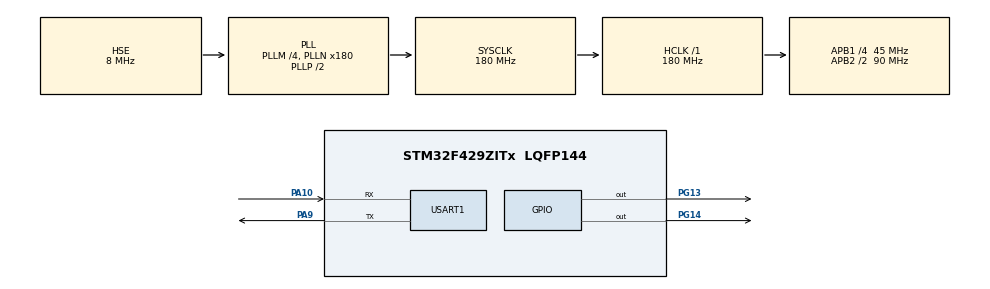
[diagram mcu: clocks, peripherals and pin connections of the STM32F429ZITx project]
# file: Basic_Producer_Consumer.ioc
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FREERTOS.Tasks01=defaultTask,0,128,StartDefaultTask,Default,NULL,Dynamic,NULL,NULL
Mcu.Family=STM32F4
Mcu.Name=STM32F429ZITx
Mcu.Package=LQFP144
NVIC.PriorityGroup=NVIC_PRIORITYGROUP_4
NVIC.TIM6_DAC_IRQn=true\:15\:0\:false\:false\:true\:false\:false\:true\:true
NVIC.TimeBase=TIM6_DAC_IRQn
NVIC.TimeBaseIP=TIM6
PA10.Mode=Asynchronous
PA10.Signal=USART1_RX
PA9.Mode=Asynchronous
PA9.Signal=USART1_TX
PG13.Signal=GPIO_Output
PG14.Signal=GPIO_Output
PH0/OSC_IN.Mode=HSE-External-Oscillator
PH0/OSC_IN.Signal=RCC_OSC_IN
PH1/OSC_OUT.Mode=HSE-External-Oscillator
PH1/OSC_OUT.Signal=RCC_OSC_OUT
ProjectManager.HeapSize=0x200
ProjectManager.StackSize=0x400
ProjectManager.TargetToolchain=STM32CubeIDE
RCC.48MHZClocksFreq_Value=51428571.428571425
RCC.AHBFreq_Value=180000000
RCC.APB1CLKDivider=RCC_HCLK_DIV4
RCC.APB1Freq_Value=45000000
RCC.APB1TimFreq_Value=90000000
RCC.APB2CLKDivider=RCC_HCLK_DIV2
RCC.APB2Freq_Value=90000000
RCC.APB2TimFreq_Value=180000000
RCC.CortexFreq_Value=180000000
RCC.HCLKFreq_Value=180000000
RCC.HSE_VALUE=8000000
RCC.HSI_VALUE=16000000
RCC.LSE_VALUE=32768
RCC.PLLM=4
RCC.PLLN=180
RCC.PLLQ=7
RCC.PLLSourceVirtual=RCC_PLLSOURCE_HSE
RCC.SYSCLKFreq_VALUE=180000000
RCC.SYSCLKSource=RCC_SYSCLKSOURCE_PLLCLK
RCC.VCOOutputFreq_Value=360000000
USART1.VirtualMode=VM_ASYNC
VP_FREERTOS_VS_CMSIS_V1.Mode=CMSIS_V1
VP_SYS_VS_tim6.Mode=TIM6
board=STM32F429I-DISC1

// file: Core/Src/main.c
/* USER CODE BEGIN Header */
/**
  ******************************************************************************
  * @file           : main.c
  * @brief          : Main program body
  ******************************************************************************
  * @attention
  *
  * Copyright (c) 2025 STMicroelectronics.
  * All rights reserved.
  *
  * This software is licensed under terms that can be found in the LICENSE file
  * in the root directory of this software component.
  * If no LICENSE file comes with this software, it is provided AS-IS.
  *
  ******************************************************************************
  */
/* USER CODE END Header */
#include "main.h"

#include "FreeRTOS.h"
#include "task.h"
#include "message_buffer.h"

#include "string.h"
#include "stdio.h"

UART_HandleTypeDef huart1;

void SystemClock_Config(void);
static void MX_GPIO_Init(void);
static void MX_USART1_UART_Init(void);

/* USER CODE BEGIN 0 */

/* *********************** Create Message buffer handler ********************* */
MessageBufferHandle_t MessageBuffer_Handle;

/* *********************** Create Task Handles ******************************* */
TaskHandle_t Producer_Handle;
TaskHandle_t Consumer_Handle;

/* *********************** Task Functions ********************************** */
void Producer(void* pv)
{
	const char* msgs[] = {"CMD1", "HELLO MP CODING", "PAYLAOD:12345", "OK" };
	int i = 0;

	for(;;)
	{
		size_t len = strlen(msgs[i]);
		if (xMessageBufferSend(MessageBuffer_Handle, (void* )msgs[i], len, pdMS_TO_TICKS(100)) != len) {
			// Error
			HAL_UART_Transmit(&huart1, (uint8_t *)"Message Buffer Send Failed\r\n", 21, HAL_MAX_DELAY);
		}else {

			HAL_GPIO_TogglePin(GPIOG, GPIO_PIN_13);

			char* msg = (char*) pvPortMalloc(100 * sizeof(char)); // Allocate memory from the heap
			sprintf(msg, "Message Sent: %s\r\n", msgs[i]);
			HAL_UART_Transmit(&huart1, (uint8_t *)msg, strlen(msg), HAL_MAX_DELAY);
			vPortFree(msg); // Free the allocated memory
		}

		i = (i+1) % (sizeof(msgs)/sizeof(msgs[0]));

		vTaskDelay(pdMS_TO_TICKS(1000));
	}
}

void Consumer(void* pv)
{
	uint8_t rxBuffer[100];
	for (;;)
	{
		size_t received = xMessageBufferReceive(MessageBuffer_Handle, (void* )rxBuffer, sizeof(rxBuffer), portMAX_DELAY);

		HAL_GPIO_TogglePin(GPIOG, GPIO_PIN_14);

		char* msg = (char*) pvPortMalloc(100 * sizeof(char)); // Allocate memory from the heap

		sprintf(msg, "Message Received: %.*s\n", (int)received, rxBuffer);

		HAL_UART_Transmit(&huart1, (uint8_t *)msg, strlen(msg), HAL_MAX_DELAY);
		vPortFree(msg); // Free the allocated memory

	}
}

/* USER CODE END 0 */

int main(void)
{

  /* MCU Configuration--------------------------------------------------------*/

  /* Reset of all peripherals, Initializes the Flash interface and the Systick. */
  HAL_Init();

  /* Configure the system clock */
  SystemClock_Config();

  /* Initialize all configured peripherals */
  MX_GPIO_Init();
  MX_USART1_UART_Init();
  /* USER CODE BEGIN 2 */

  /* *********************** Create Message Buffer ************************** */
  MessageBuffer_Handle = xMessageBufferCreate(256); // 256 bytes buffer (Total buffer size bytes)

  if (MessageBuffer_Handle == NULL) {
	// Error
	HAL_UART_Transmit(&huart1, (uint8_t*) "Message Buffer Creation Failed\n", 31, HAL_MAX_DELAY);
  }
  else{
	HAL_UART_Transmit(&huart1, (uint8_t*) "Message Buffer Created Successfully\n", 37, HAL_MAX_DELAY);
  }

  /* *********************** Create Tasks ********************************** */
  xTaskCreate(Producer, "Producer", 256, NULL, 2, &Producer_Handle);
  xTaskCreate(Consumer, "Consumer", 256, NULL, 1, &Consumer_Handle);

  /* *********************** Start Scheduler ******************************* */
  vTaskStartScheduler();

  /* USER CODE END 2 */

  /* We should never get here as control is now taken by the scheduler */

  /* Infinite loop */
  while (1)
  {

  }
}

void SystemClock_Config(void)
{
  RCC_OscInitTypeDef RCC_OscInitStruct = {0};
  RCC_ClkInitTypeDef RCC_ClkInitStruct = {0};

  /** Configure the main internal regulator output voltage
  */
  __HAL_RCC_PWR_CLK_ENABLE();
  __HAL_PWR_VOLTAGESCALING_CONFIG(PWR_REGULATOR_VOLTAGE_SCALE1);

  /** Initializes the RCC Oscillators according to the specified parameters
  * in the RCC_OscInitTypeDef structure.
  */
  RCC_OscInitStruct.OscillatorType = RCC_OSCILLATORTYPE_HSE;
  RCC_OscInitStruct.HSEState = RCC_HSE_ON;
  RCC_OscInitStruct.PLL.PLLState = RCC_PLL_ON;
  RCC_OscInitStruct.PLL.PLLSource = RCC_PLLSOURCE_HSE;
  RCC_OscInitStruct.PLL.PLLM = 4;
  RCC_OscInitStruct.PLL.PLLN = 180;
  RCC_OscInitStruct.PLL.PLLP = RCC_PLLP_DIV2;
  RCC_OscInitStruct.PLL.PLLQ = 7;
  if (HAL_RCC_OscConfig(&RCC_OscInitStruct) != HAL_OK)
  {
    Error_Handler();
  }

  /** Activate the Over-Drive mode
  */
  if (HAL_PWREx_EnableOverDrive() != HAL_OK)
  {
    Error_Handler();
  }

  /** Initializes the CPU, AHB and APB buses clocks
  */
  RCC_ClkInitStruct.ClockType = RCC_CLOCKTYPE_HCLK|RCC_CLOCKTYPE_SYSCLK
                              |RCC_CLOCKTYPE_PCLK1|RCC_CLOCKTYPE_PCLK2;
  RCC_ClkInitStruct.SYSCLKSource = RCC_SYSCLKSOURCE_PLLCLK;
  RCC_ClkInitStruct.AHBCLKDivider = RCC_SYSCLK_DIV1;
  RCC_ClkInitStruct.APB1CLKDivider = RCC_HCLK_DIV4;
  RCC_ClkInitStruct.APB2CLKDivider = RCC_HCLK_DIV2;

  if (HAL_RCC_ClockConfig(&RCC_ClkInitStruct, FLASH_LATENCY_5) != HAL_OK)
  {
    Error_Handler();
  }
}

static void MX_USART1_UART_Init(void)
{

  huart1.Instance = USART1;
  huart1.Init.BaudRate = 115200;
  huart1.Init.WordLength = UART_WORDLENGTH_8B;
  huart1.Init.StopBits = UART_STOPBITS_1;
  huart1.Init.Parity = UART_PARITY_NONE;
  huart1.Init.Mode = UART_MODE_TX_RX;
  huart1.Init.HwFlowCtl = UART_HWCONTROL_NONE;
  huart1.Init.OverSampling = UART_OVERSAMPLING_16;
  if (HAL_UART_Init(&huart1) != HAL_OK)
  {
    Error_Handler();
  }

}

static void MX_GPIO_Init(void)
{
  GPIO_InitTypeDef GPIO_InitStruct = {0};

  /* GPIO Ports Clock Enable */
  __HAL_RCC_GPIOH_CLK_ENABLE();
  __HAL_RCC_GPIOA_CLK_ENABLE();
  __HAL_RCC_GPIOG_CLK_ENABLE();

  /*Configure GPIO pin Output Level */
  HAL_GPIO_WritePin(GPIOG, GPIO_PIN_13|GPIO_PIN_14, GPIO_PIN_RESET);

  /*Configure GPIO pins : PG13 PG14 */
  GPIO_InitStruct.Pin = GPIO_PIN_13|GPIO_PIN_14;
  GPIO_InitStruct.Mode = GPIO_MODE_OUTPUT_PP;
  GPIO_InitStruct.Pull = GPIO_NOPULL;
  GPIO_InitStruct.Speed = GPIO_SPEED_FREQ_LOW;
  HAL_GPIO_Init(GPIOG, &GPIO_InitStruct);

}

void HAL_TIM_PeriodElapsedCallback(TIM_HandleTypeDef *htim)
{
  if (htim->Instance == TIM6)
  {
    HAL_IncTick();
  }
}

void Error_Handler(void)
{
  __disable_irq();
  while (1)
  {
  }
}
